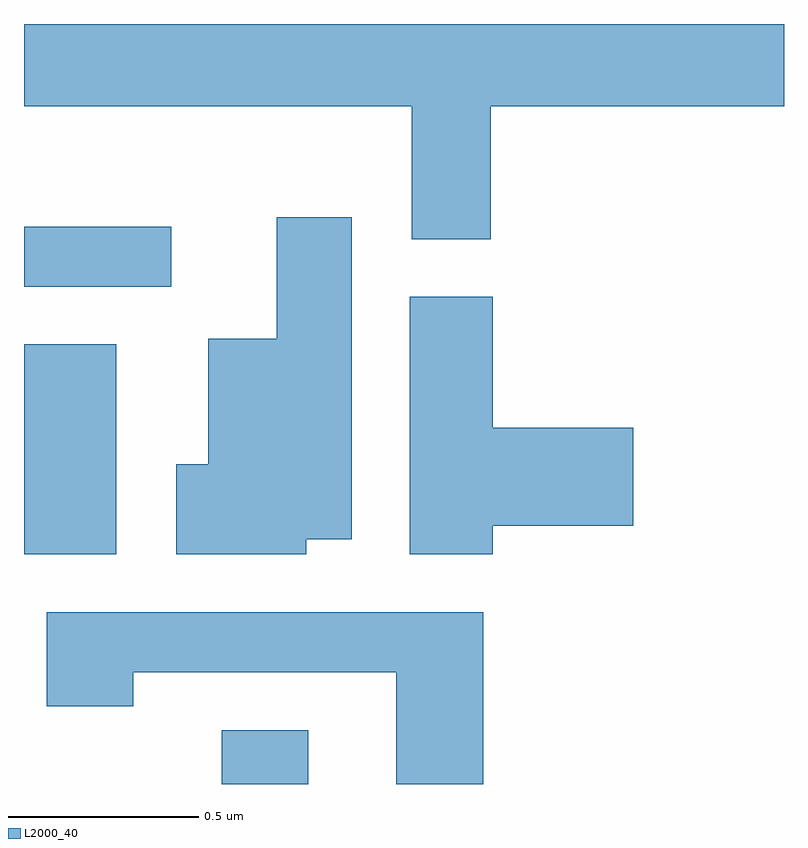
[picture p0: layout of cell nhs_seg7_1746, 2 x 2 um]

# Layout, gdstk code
import gdstk
lib = gdstk.Library(unit=1e-6, precision=1e-09)
def R(c, l, rs):  # rectangles x0, y0, x1, y1
    for r in rs: c.add(gdstk.rectangle(r[:2], r[2:], *l))
def P(c, l, *ps):  # polygons
    for p in ps: c.add(gdstk.Polygon(p, *l))
L2000_40 = (2000, 40)

nhs_seg7_1746 = lib.new_cell('nhs_seg7_1746')
R(nhs_seg7_1746, L2000_40, [(198.131,1770.252,198.359,1770.394), (197.611,1770.856,197.854,1771.409), (197.611,1771.561,197.998,1771.719)])
P(nhs_seg7_1746, L2000_40, [(198.839,1772.036),(199.611,1772.036),(199.611,1772.252),(197.611,1772.252),(197.611,1772.036),(198.631,1772.036),(198.631,1771.686),(198.839,1771.686)],
  [(198.354,1770.896),(198.474,1770.896),(198.474,1771.744),(198.276,1771.744),(198.276,1771.424),(198.096,1771.424),(198.096,1771.094),(198.011,1771.094),(198.011,1770.856),(198.354,1770.856)],
  [(198.844,1770.931),(199.214,1770.931),(199.214,1771.189),(198.844,1771.189),(198.844,1771.534),(198.626,1771.534),(198.626,1770.856),(198.844,1770.856)],
  [(198.819,1770.704),(197.671,1770.704),(197.671,1770.456),(197.899,1770.456),(197.899,1770.546),(198.591,1770.546),(198.591,1770.252),(198.819,1770.252)])

lib.write_gds('nhs_seg7_1746.gds')
